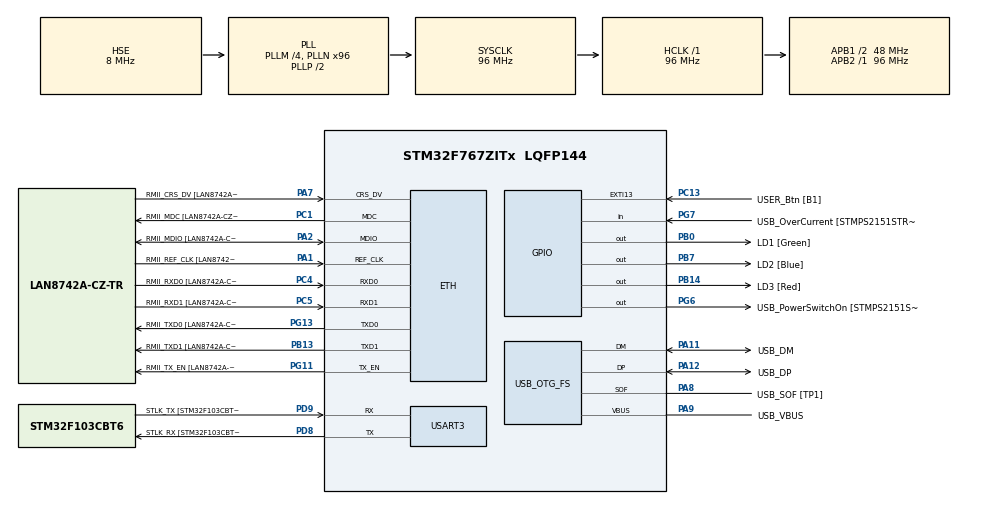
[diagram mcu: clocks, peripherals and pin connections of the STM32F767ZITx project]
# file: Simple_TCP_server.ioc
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ETH.MediaInterface=ETH_MEDIA_INTERFACE_RMII
ETH.PHY_Name=LAN8742A_PHY_ADDRESS
ETH.PHY_Value=0
ETH.PhyAddress=0
FREERTOS.Tasks01=defaultTask,24,128,StartDefaultTask,Default,NULL,Dynamic,NULL,NULL
FREERTOS.configCHECK_FOR_STACK_OVERFLOW=2
FREERTOS.configGENERATE_RUN_TIME_STATS=1
FREERTOS.configUSE_STATS_FORMATTING_FUNCTIONS=1
LWIP.MEM_SIZE=10000
LWIP.TCP_MSS=1460
LWIP.Version=v2.1.2_Cube
Mcu.Family=STM32F7
Mcu.Name=STM32F767ZITx
Mcu.Package=LQFP144
NVIC.ETH_IRQn=true\:5\:0\:false\:false\:true\:true\:false\:true
NVIC.PriorityGroup=NVIC_PRIORITYGROUP_4
NVIC.TIM8_TRG_COM_TIM14_IRQn=true\:0\:0\:false\:false\:true\:false\:false\:true
NVIC.TimeBase=TIM8_TRG_COM_TIM14_IRQn
NVIC.TimeBaseIP=TIM14
PA1.GPIO_Label=RMII_REF_CLK [LAN8742A-CZ-TR_REFCLK0]
PA1.Mode=RMII
PA1.Signal=ETH_REF_CLK
PA10.GPIO_Label=USB_ID
PA10.Signal=USB_OTG_FS_ID
PA11.GPIO_Label=USB_DM
PA11.Mode=Device_Only
PA11.Signal=USB_OTG_FS_DM
PA12.GPIO_Label=USB_DP
PA12.Mode=Device_Only
PA12.Signal=USB_OTG_FS_DP
PA13.GPIO_Label=TMS
PA13.Mode=Serial_Wire
PA13.Signal=SYS_JTMS-SWDIO
PA14.GPIO_Label=TCK
PA14.Mode=Serial_Wire
PA14.Signal=SYS_JTCK-SWCLK
PA2.GPIO_Label=RMII_MDIO [LAN8742A-CZ-TR_MDIO]
PA2.Mode=RMII
PA2.Signal=ETH_MDIO
PA7.GPIO_Label=RMII_CRS_DV [LAN8742A-CZ-TR_CRS_DV]
PA7.Mode=RMII
PA7.Signal=ETH_CRS_DV
PA8.GPIO_Label=USB_SOF [TP1]
PA8.Mode=Activate_SOF_FS
PA8.Signal=USB_OTG_FS_SOF
PA9.GPIO_Label=USB_VBUS
PA9.Mode=Activate_VBUS
PA9.Signal=USB_OTG_FS_VBUS
PB0.GPIO_Label=LD1 [Green]
PB0.Signal=GPIO_Output
PB13.GPIO_Label=RMII_TXD1 [LAN8742A-CZ-TR_TXD1]
PB13.Mode=RMII
PB13.Signal=ETH_TXD1
PB14.GPIO_Label=LD3 [Red]
PB14.Signal=GPIO_Output
PB3.GPIO_Label=SWO
PB3.Signal=SYS_JTDO-SWO
PB7.GPIO_Label=LD2 [Blue]
PB7.Signal=GPIO_Output
PC1.GPIO_Label=RMII_MDC [LAN8742A-CZ-TR_MDC]
PC1.Mode=RMII
PC1.Signal=ETH_MDC
PC13.GPIO_Label=USER_Btn [B1]
PC13.Signal=GPXTI13
PC14/OSC32_IN.Mode=LSE-External-Oscillator
PC14/OSC32_IN.Signal=RCC_OSC32_IN
PC15/OSC32_OUT.Mode=LSE-External-Oscillator
PC15/OSC32_OUT.Signal=RCC_OSC32_OUT
PC4.GPIO_Label=RMII_RXD0 [LAN8742A-CZ-TR_RXD0]
PC4.Mode=RMII
PC4.Signal=ETH_RXD0
PC5.GPIO_Label=RMII_RXD1 [LAN8742A-CZ-TR_RXD1]
PC5.Mode=RMII
PC5.Signal=ETH_RXD1
PD8.GPIO_Label=STLK_RX [STM32F103CBT6_PA3]
PD8.Mode=Asynchronous
PD8.Signal=USART3_TX
PD9.GPIO_Label=STLK_TX [STM32F103CBT6_PA2]
PD9.Mode=Asynchronous
PD9.Signal=USART3_RX
PG11.GPIO_Label=RMII_TX_EN [LAN8742A-CZ-TR_TXEN]
PG11.Mode=RMII
PG11.Signal=ETH_TX_EN
PG13.GPIO_Label=RMII_TXD0 [LAN8742A-CZ-TR_TXD0]
PG13.Mode=RMII
PG13.Signal=ETH_TXD0
PG6.GPIO_Label=USB_PowerSwitchOn [STMPS2151STR_EN]
PG6.Signal=GPIO_Output
PG7.GPIO_Label=USB_OverCurrent [STMPS2151STR_FAULT]
PG7.Signal=GPIO_Input
PH0/OSC_IN.GPIO_Label=MCO [STM32F103CBT6_PA8]
PH0/OSC_IN.Mode=HSE-External-Clock-Source
PH0/OSC_IN.Signal=RCC_OSC_IN
PH1/OSC_OUT.Mode=HSE-External-Clock-Source
PH1/OSC_OUT.Signal=RCC_OSC_OUT
ProjectManager.HeapSize=0x200
ProjectManager.StackSize=0x400
ProjectManager.TargetToolchain=STM32CubeIDE
RCC.48MHZClocksFreq_Value=24000000
RCC.AHBFreq_Value=96000000
RCC.APB1CLKDivider=RCC_HCLK_DIV2
RCC.APB1Freq_Value=48000000
RCC.APB1TimFreq_Value=96000000
RCC.APB2Freq_Value=96000000
RCC.APB2TimFreq_Value=96000000
RCC.CortexFreq_Value=96000000
RCC.HCLKFreq_Value=96000000
RCC.HSE_VALUE=8000000
RCC.HSI_VALUE=16000000
RCC.PLLM=4
RCC.PLLMUL=RCC_PLL_MUL9
RCC.PLLN=96
RCC.PLLQ=4
RCC.PRESCALERUSB=RCC_USBCLKSOURCE_PLL_DIV1_5
RCC.SYSCLKFreq_VALUE=96000000
RCC.SYSCLKSource=RCC_SYSCLKSOURCE_PLLCLK
RCC.SYSCLKSourceVirtual=RCC_SYSCLKSOURCE_PLLCLK
RCC.USBFreq_Value=48000000
RCC.VCOOutputFreq_Value=192000000
USART3.VirtualMode-Asynchronous=VM_ASYNC
USB_OTG_FS.VirtualMode=Device_Only
VP_FREERTOS_VS_CMSIS_V2.Mode=CMSIS_V2
VP_LWIP_VS_Enabled.Mode=Enabled
VP_SYS_VS_tim14.Mode=TIM14
board=NUCLEO-F767ZI

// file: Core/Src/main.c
/* USER CODE BEGIN Header */
/**
  ******************************************************************************
  * @file           : main.c
  * @brief          : Main program body
  ******************************************************************************
  * @attention
  *
  * <h2><center>&copy; Copyright (c) 2021 STMicroelectronics.
  * All rights reserved.</center></h2>
  *
  * This software component is licensed by ST under BSD 3-Clause license,
  * the "License"; You may not use this file except in compliance with the
  * License. You may obtain a copy of the License at:
  *                        opensource.org/licenses/BSD-3-Clause
  *
  ******************************************************************************
  */
/* USER CODE END Header */
#include "main.h"
#include "cmsis_os.h"
#include "lwip.h"
#include "usart.h"
#include "usb_otg.h"
#include "gpio.h"

void SystemClock_Config(void);
void MX_FREERTOS_Init(void);

int main(void)
{

  /* MCU Configuration--------------------------------------------------------*/

  /* Reset of all peripherals, Initializes the Flash interface and the Systick. */
  HAL_Init();

  /* Configure the system clock */
  SystemClock_Config();

  /* Initialize all configured peripherals */
  MX_GPIO_Init();
  MX_USART3_UART_Init();
  MX_USB_OTG_FS_PCD_Init();

  /* Init scheduler */
  osKernelInitialize();  /* Call init function for freertos objects (in freertos.c) */
  MX_FREERTOS_Init();
  /* Start scheduler */
  osKernelStart();

  /* We should never get here as control is now taken by the scheduler */
  /* Infinite loop */
  while (1)
  {

  }
}

void SystemClock_Config(void)
{
  RCC_OscInitTypeDef RCC_OscInitStruct = {0};
  RCC_ClkInitTypeDef RCC_ClkInitStruct = {0};
  RCC_PeriphCLKInitTypeDef PeriphClkInitStruct = {0};

  /** Configure LSE Drive Capability
  */
  HAL_PWR_EnableBkUpAccess();
  /** Configure the main internal regulator output voltage
  */
  __HAL_RCC_PWR_CLK_ENABLE();
  __HAL_PWR_VOLTAGESCALING_CONFIG(PWR_REGULATOR_VOLTAGE_SCALE3);
  /** Initializes the RCC Oscillators according to the specified parameters
  * in the RCC_OscInitTypeDef structure.
  */
  RCC_OscInitStruct.OscillatorType = RCC_OSCILLATORTYPE_HSE;
  RCC_OscInitStruct.HSEState = RCC_HSE_BYPASS;
  RCC_OscInitStruct.PLL.PLLState = RCC_PLL_ON;
  RCC_OscInitStruct.PLL.PLLSource = RCC_PLLSOURCE_HSE;
  RCC_OscInitStruct.PLL.PLLM = 4;
  RCC_OscInitStruct.PLL.PLLN = 96;
  RCC_OscInitStruct.PLL.PLLP = RCC_PLLP_DIV2;
  RCC_OscInitStruct.PLL.PLLQ = 4;
  if (HAL_RCC_OscConfig(&RCC_OscInitStruct) != HAL_OK)
  {
    Error_Handler();
  }
  /** Activate the Over-Drive mode
  */
  if (HAL_PWREx_EnableOverDrive() != HAL_OK)
  {
    Error_Handler();
  }
  /** Initializes the CPU, AHB and APB buses clocks
  */
  RCC_ClkInitStruct.ClockType = RCC_CLOCKTYPE_HCLK|RCC_CLOCKTYPE_SYSCLK
                              |RCC_CLOCKTYPE_PCLK1|RCC_CLOCKTYPE_PCLK2;
  RCC_ClkInitStruct.SYSCLKSource = RCC_SYSCLKSOURCE_PLLCLK;
  RCC_ClkInitStruct.AHBCLKDivider = RCC_SYSCLK_DIV1;
  RCC_ClkInitStruct.APB1CLKDivider = RCC_HCLK_DIV2;
  RCC_ClkInitStruct.APB2CLKDivider = RCC_HCLK_DIV1;

  if (HAL_RCC_ClockConfig(&RCC_ClkInitStruct, FLASH_LATENCY_3) != HAL_OK)
  {
    Error_Handler();
  }
  PeriphClkInitStruct.PeriphClockSelection = RCC_PERIPHCLK_USART3|RCC_PERIPHCLK_CLK48;
  PeriphClkInitStruct.Usart3ClockSelection = RCC_USART3CLKSOURCE_PCLK1;
  PeriphClkInitStruct.Clk48ClockSelection = RCC_CLK48SOURCE_PLL;
  if (HAL_RCCEx_PeriphCLKConfig(&PeriphClkInitStruct) != HAL_OK)
  {
    Error_Handler();
  }
}

 /**
  * @brief  Period elapsed callback in non blocking mode
  * @note   This function is called  when TIM14 interrupt took place, inside
  * HAL_TIM_IRQHandler(). It makes a direct call to HAL_IncTick() to increment
  * a global variable "uwTick" used as application time base.
  * @param  htim : TIM handle
  * @retval None
  */
void HAL_TIM_PeriodElapsedCallback(TIM_HandleTypeDef *htim)
{
  if (htim->Instance == TIM14) {
    HAL_IncTick();
  }
}

void Error_Handler(void)
{
  __disable_irq();
  while (1)
  {
  }
}

/************************ (C) COPYRIGHT STMicroelectronics *****END OF FILE****/

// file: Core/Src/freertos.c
/* USER CODE BEGIN Header */
/**
  ******************************************************************************
  * File Name          : freertos.c
  * Description        : Code for freertos applications
  ******************************************************************************
  * @attention
  *
  * <h2><center>&copy; Copyright (c) 2021 STMicroelectronics.
  * All rights reserved.</center></h2>
  *
  * This software component is licensed by ST under Ultimate Liberty license
  * SLA0044, the "License"; You may not use this file except in compliance with
  * the License. You may obtain a copy of the License at:
  *                             www.st.com/SLA0044
  *
  ******************************************************************************
  */
/* USER CODE END Header */

#include "FreeRTOS.h"
#include "task.h"
#include "main.h"
#include "cmsis_os.h"

/* USER CODE BEGIN Includes */

#include "TCP_server.h"
#include <string.h>
#include <stdio.h>
#include "usart.h"
#include "lwip.h"

/* USER CODE END Includes */

/* USER CODE BEGIN Variables */

extern struct netif gnetif;
char GUI_buffer[500] = {0};
unsigned int TaskWaterMark;

const osThreadAttr_t TCPserverTask_attributes = {
  .name = "TCP_serverTask",
  .priority = (osPriority_t) osPriorityNormal,
  .stack_size = 128 * 10
};

osThreadId_t TCP_serverTaskHandle;

/* USER CODE END Variables */
/* Definitions for defaultTask */
osThreadId_t defaultTaskHandle;
const osThreadAttr_t defaultTask_attributes = {
  .name = "defaultTask",
  .priority = (osPriority_t) osPriorityNormal,
  .stack_size = 128 * 4
};

void StartDefaultTask(void *argument);

extern void MX_LWIP_Init(void);
void MX_FREERTOS_Init(void); /* (MISRA C 2004 rule 8.1) */

/* Hook prototypes */
void configureTimerForRunTimeStats(void);
unsigned long getRunTimeCounterValue(void);
void vApplicationStackOverflowHook(xTaskHandle xTask, signed char *pcTaskName);

/* USER CODE BEGIN 1 */
/* Functions needed when configGENERATE_RUN_TIME_STATS is on */
__weak void configureTimerForRunTimeStats(void)
{

}

__weak unsigned long getRunTimeCounterValue(void)
{
return 0;
}
/* USER CODE END 1 */

/* USER CODE BEGIN 4 */
void vApplicationStackOverflowHook(xTaskHandle xTask, signed char *pcTaskName)
{
   /* Run time stack overflow checking is performed if
   configCHECK_FOR_STACK_OVERFLOW is defined to 1 or 2. This hook function is
   called if a stack overflow is detected. */
}
/* USER CODE END 4 */

void MX_FREERTOS_Init(void) {

  /* Create the thread(s) */
  /* creation of defaultTask */
  defaultTaskHandle = osThreadNew(StartDefaultTask, NULL, &defaultTask_attributes);

}

void StartDefaultTask(void *argument)
{
  /* init code for LWIP */
  MX_LWIP_Init();
  /* USER CODE BEGIN StartDefaultTask */

  TCP_serverTaskHandle = osThreadNew(StartTCPserverTask, NULL, &TCPserverTask_attributes);

  /* Infinite loop */
	for(;;)
	{
		// mainly for debug purpose
		if(HAL_GPIO_ReadPin(GPIOC, GPIO_PIN_13) == 1)
		{
			// print IP address
			snprintf(GUI_buffer, sizeof(GUI_buffer) - 1, "\n\nIP = %lu\n", gnetif.ip_addr.addr);
			HAL_UART_Transmit(&huart3, (unsigned char*)GUI_buffer, strlen(GUI_buffer) + 1, 200);

			// print freeRTOS statistics
			vTaskList(GUI_buffer);
		//	osThreadList((unsigned char*)GUI_buffer); // doesn't work anymore in RTOS V2
			HAL_UART_Transmit(&huart3, (unsigned char*)GUI_buffer, strlen(GUI_buffer) + 1, 200);

			snprintf(GUI_buffer, sizeof(GUI_buffer) - 1, "\nxPortGetFreeHeapSize() = %u\n", xPortGetFreeHeapSize());
			HAL_UART_Transmit(&huart3, (unsigned char*)GUI_buffer, strlen(GUI_buffer) + 1, 200);

			snprintf(GUI_buffer, sizeof(GUI_buffer) - 1, "xPortGetMinimumEverFreeHeapSize() = %u\n", xPortGetMinimumEverFreeHeapSize());
			HAL_UART_Transmit(&huart3, (unsigned char*)GUI_buffer, strlen(GUI_buffer) + 1, 200);

			TaskWaterMark = uxTaskGetStackHighWaterMark(TCP_serverTaskHandle);
			snprintf(GUI_buffer, sizeof(GUI_buffer) - 1, "Stack high water mark (in words) for TCP_serverTask  = %u\n", TaskWaterMark);
			HAL_UART_Transmit(&huart3, (unsigned char*)GUI_buffer, strlen(GUI_buffer) + 1, 200);

			osDelay(500);
		}
		osDelay(100);
	}
  /* USER CODE END StartDefaultTask */
}

/************************ (C) COPYRIGHT STMicroelectronics *****END OF FILE****/
